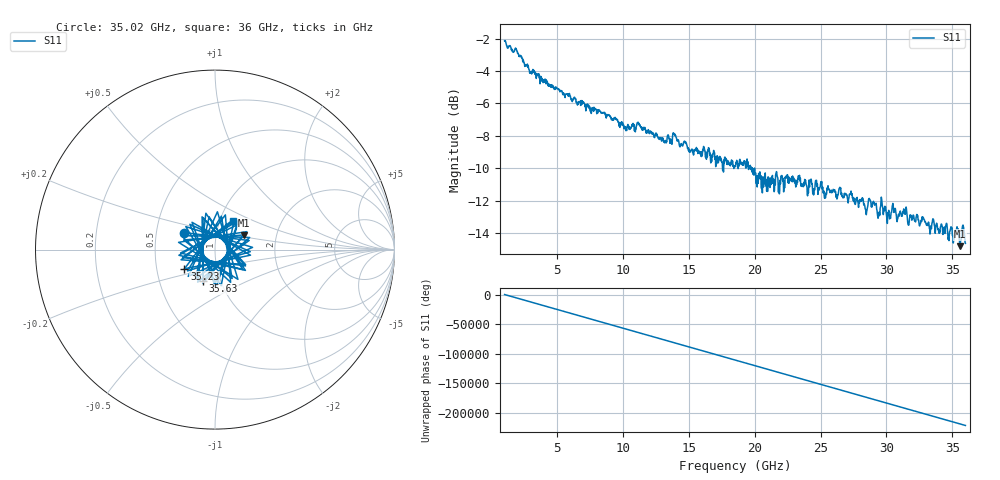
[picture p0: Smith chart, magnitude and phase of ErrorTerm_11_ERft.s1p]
!  1-Port S-parameters saved by WinCal
! VAR NAME=Unknown labuser
! VAR Error Term Name=ERft phys rcv port 1 phys src port 1
# Hz S RI R 50
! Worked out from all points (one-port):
!   1601 points, 1 GHz to 36 GHz, reference 50 ohm
!   lowest |S11| = -14.8 dB at 35.61 GHz (marker M1), VSWR 1.44, Z = 68.2 + j11.6 ohm
!   |S11| at or under -10 dB: 17.55267 GHz to 17.59112 GHz (38.45 MHz wide, 0.219 % of centre); 19.82 GHz to 19.98 GHz (164.5 MHz wide, 0.827 % of centre); 19.99 GHz to end of sweep (the widest 3 of 10)
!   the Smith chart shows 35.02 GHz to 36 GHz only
!   S11 on the Smith chart (normalised r, x): 35.02 GHz: 0.70, +0.14; 35.23 GHz: 0.69, -0.16; 35.63 GHz: 0.83, -0.30; 36 GHz: 1.16, +0.38
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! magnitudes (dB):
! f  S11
! 1 GHz  -2.1
! 2.991 GHz  -4.1
! 5.375 GHz  -5.3
! 9.75 GHz  -7.5
! 11.22 GHz  -7.2
! 13.1 GHz  -8.4
! 13.93 GHz  -7.9
! 14.12 GHz  -8.3
! 15.2 GHz  -8.9
! 18.5 GHz  -9.9
! 19.33 GHz  -10.0
! 20.67 GHz  -11.2
! 22.88 GHz  -10.5
! 25 GHz  -11.0
! 25.3 GHz  -11.8
! 27.25 GHz  -11.6
! 28.43 GHz  -12.6
! 28.82 GHz  -12.1
! 29.39 GHz  -12.9
! 29.77 GHz  -12.9
! 30.16 GHz  -12.7
! 30.53 GHz  -12.4
! 31.62 GHz  -13.4
! 35.02 GHz  -14.1
! 35.23 GHz  -13.9
! 35.61 GHz  -14.8
! 35.63 GHz  -14.5
! 36 GHz  -14.6
